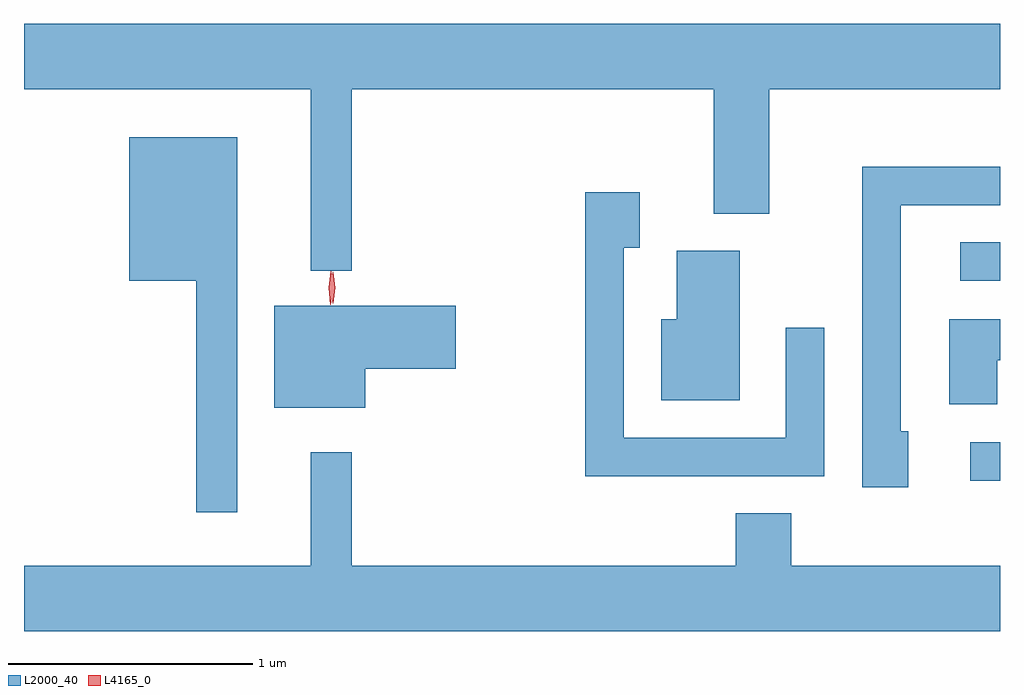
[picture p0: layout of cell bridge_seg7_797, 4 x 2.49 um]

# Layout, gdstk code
import gdstk
lib = gdstk.Library(unit=1e-6, precision=1e-09)
def R(c, l, rs):  # rectangles x0, y0, x1, y1
    for r in rs: c.add(gdstk.rectangle(r[:2], r[2:], *l))
def P(c, l, *ps):  # polygons
    for p in ps: c.add(gdstk.Polygon(p, *l))
L2000_40 = (2000, 40)
L4165_0 = (4165, 0)

bridge_seg7_797 = lib.new_cell('bridge_seg7_797')
R(bridge_seg7_797, L2000_40, [(244.613,1761.551,244.735,1761.709), (244.573,1762.371,244.735,1762.529)])
P(bridge_seg7_797, L2000_40, [(242.079,1763.156),(243.561,1763.156),(243.561,1762.646),(243.789,1762.646),(243.789,1763.156),(244.735,1763.156),(244.735,1763.424),(240.735,1763.424),(240.735,1763.156),(241.911,1763.156),(241.911,1762.413),(242.079,1762.413)],
  [(241.609,1762.959),(241.166,1762.959),(241.166,1762.371),(241.441,1762.371),(241.441,1761.423),(241.609,1761.423)],
  [(244.359,1761.754),(244.329,1761.754),(244.329,1762.681),(244.735,1762.681),(244.735,1762.839),(244.171,1762.839),(244.171,1761.526),(244.359,1761.526)],
  [(244.014,1762.178),(243.856,1762.178),(243.856,1761.729),(243.194,1761.729),(243.194,1762.506),(243.259,1762.506),(243.259,1762.734),(243.036,1762.734),(243.036,1761.571),(244.014,1761.571)],
  [(243.669,1762.494),(243.411,1762.494),(243.411,1762.214),(243.346,1762.214),(243.346,1761.881),(243.669,1761.881)],
  [(242.134,1762.011),(242.504,1762.011),(242.504,1762.269),(241.761,1762.269),(241.761,1761.851),(242.134,1761.851)],
  [(244.724,1762.046),(244.735,1762.046),(244.735,1762.214),(244.526,1762.214),(244.526,1761.866),(244.724,1761.866)],
  [(244.735,1761.204),(243.879,1761.204),(243.879,1761.419),(243.651,1761.419),(243.651,1761.204),(242.079,1761.204),(242.079,1761.668),(241.911,1761.668),(241.911,1761.204),(240.735,1761.204),(240.735,1760.936),(244.735,1760.936)])
P(bridge_seg7_797, L4165_0, [(241.991,1762.274),(241.983,1762.342),(241.993,1762.41),(241.993,1762.41),(241.994,1762.41),(242.002,1762.342),(241.992,1762.274),(241.992,1762.274)],
  [(242.001,1762.28),(241.991,1762.343),(242.001,1762.406),(242.001,1762.407),(242.002,1762.406),(242.011,1762.343),(242.002,1762.28),(242.002,1762.28)])

lib.write_gds('bridge_seg7_797.gds')
